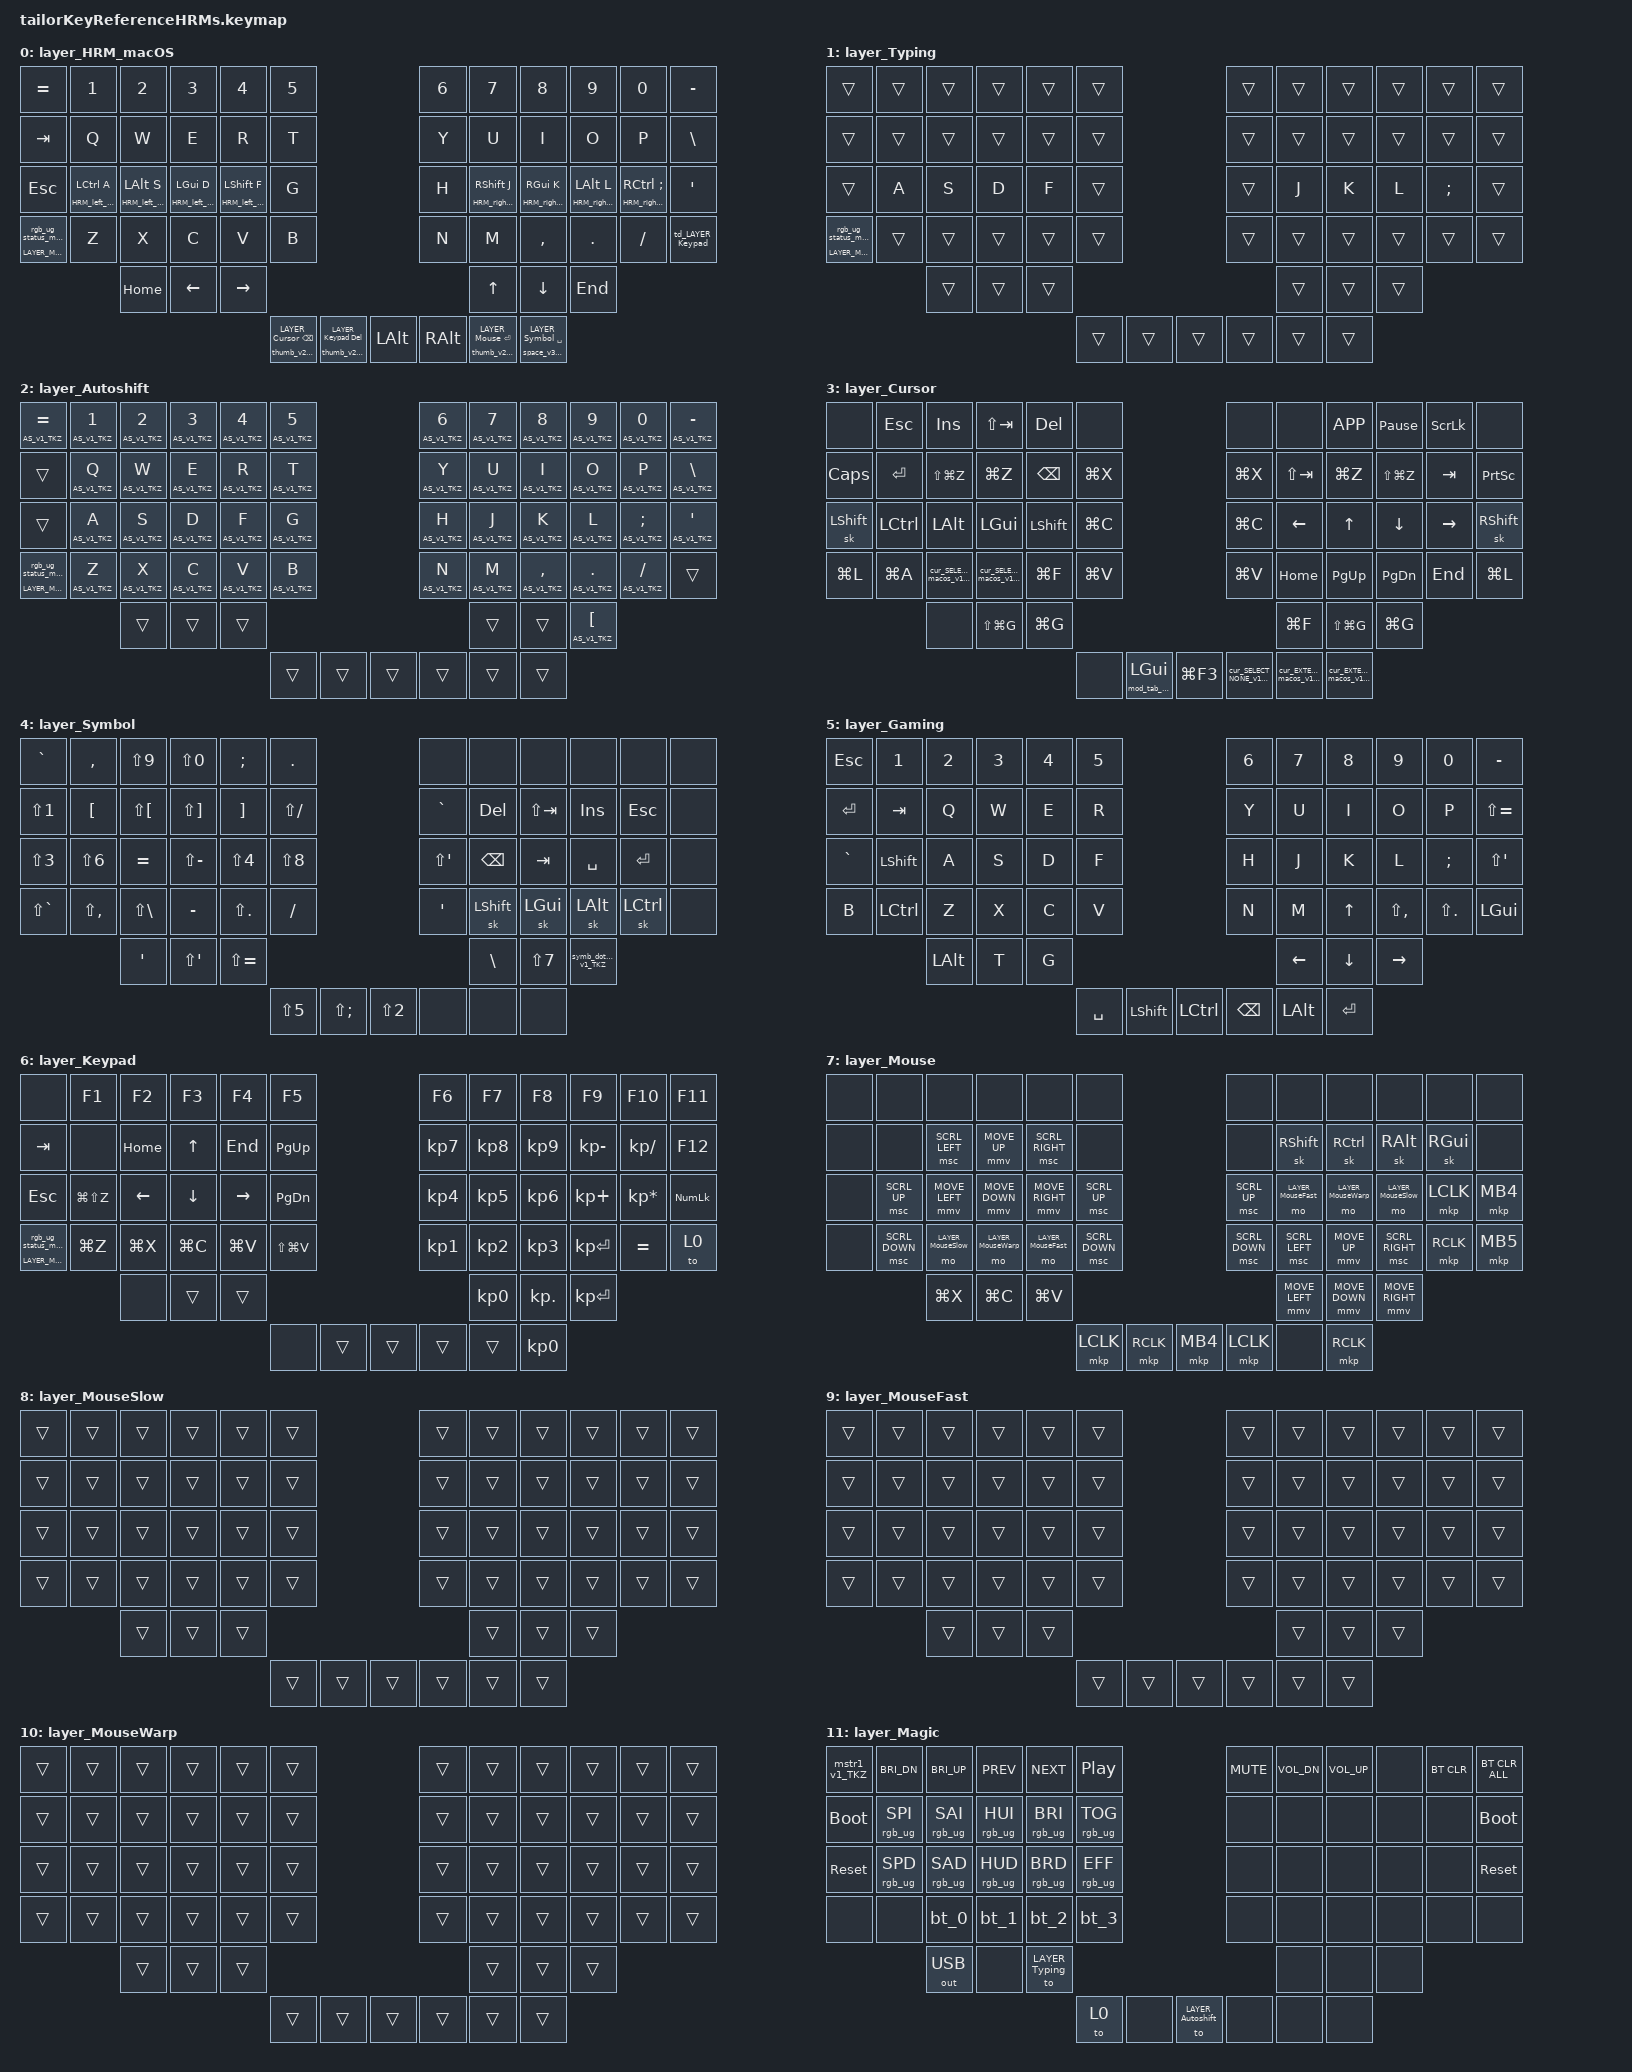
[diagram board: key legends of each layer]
/*
 * Copyright (c) 2020 The ZMK Contributors
 * Copyright (c) 2025 Innaworks Development Limited, trading as MoErgo
 *
 * SPDX-License-Identifier: MIT
 */


/* THIS FILE WAS GENERATED BY GO60 LAYOUT EDITOR
 *
 * This file was generated automatically. You may or may not want to
 * edit it directly.
 */

#include <behaviors.dtsi>

/* Include all behavior includes needed */

#include <dt-bindings/zmk/outputs.h>
#include <dt-bindings/zmk/keys.h>
#include <dt-bindings/zmk/bt.h>
#include <dt-bindings/zmk/rgb.h>

#include <input/processors.dtsi>
#include <dt-bindings/zmk/input_transform.h>
#include <zephyr/dt-bindings/input/input-event-codes.h>

/* On demand includes */
#include <dt-bindings/zmk/input_transform.h>
#include <dt-bindings/zmk/pointing.h>
#include <input/processors.dtsi>

/* Custom Functions Library includes shared functionality */
#include <zmk-custom-functions-lib/dts/behaviors.dtsi>
#include <zmk-custom-functions-lib/dts/combos.dtsi>
#include <zmk-custom-functions-lib/dts/holdTaps.dtsi>
#include <zmk-custom-functions-lib/dts/homeRowMods.dtsi>
#include <zmk-custom-functions-lib/dts/layerBehaviors.dtsi>
#include <zmk-custom-functions-lib/dts/macros.dtsi>
#include <zmk-custom-functions-lib/dts/modMorphs.dtsi>

/* Helper Macros, based on https://github.com/urob/zmk-helpers/ */

#pragma once

#define ZMK_HELPER_STRINGIFY(x) #x

// Preprocessor mechanism to overload macros, cf. https://stackoverflow.com/a/27051616/6114651
#define VARGS_(_10, _9, _8, _7, _6, _5, _4, _3, _2, _1, N, ...) N
#define VARGS(...) VARGS_(__VA_ARGS__, 10, 9, 8, 7, 6, 5, 4, 3, 2, 1, 0)
#define CONCAT_(a, b) a##b
#define CONCAT(a, b) CONCAT_(a, b)

#define ZMK_BEHAVIOR_CORE_tap_dance  \
    compatible = "zmk,behavior-tap-dance"; \
    #binding-cells = <0>

#define ZMK_BEHAVIOR(name, type, ...) \
    name: name { \
        ZMK_BEHAVIOR_CORE_ ## type; \
        __VA_ARGS__ \
    };

#define ZMK_TAP_DANCE(name, ...) \
    ZMK_BEHAVIOR(name, tap_dance, __VA_ARGS__)

#define ZMK_TD_LAYER(name, layer) \
    ZMK_TAP_DANCE(name, \
        tapping-term-ms = <200>; \
        bindings = <&mo layer>, <&to layer>; \
)





/* Key positions */

#define POS_LH_C6R1 0
#define POS_LH_C5R1 1
#define POS_LH_C4R1 2
#define POS_LH_C3R1 3
#define POS_LH_C2R1 4
#define POS_LH_C1R1 5
#define POS_RH_C1R1 6
#define POS_RH_C2R1 7
#define POS_RH_C3R1 8
#define POS_RH_C4R1 9
#define POS_RH_C5R1 10
#define POS_RH_C6R1 11
#define POS_LH_C6R2 12
#define POS_LH_C5R2 13
#define POS_LH_C4R2 14
#define POS_LH_C3R2 15
#define POS_LH_C2R2 16
#define POS_LH_C1R2 17
#define POS_RH_C1R2 18
#define POS_RH_C2R2 19
#define POS_RH_C3R2 20
#define POS_RH_C4R2 21
#define POS_RH_C5R2 22
#define POS_RH_C6R2 23
#define POS_LH_C6R3 24
#define POS_LH_C5R3 25
#define POS_LH_C4R3 26
#define POS_LH_C3R3 27
#define POS_LH_C2R3 28
#define POS_LH_C1R3 29
#define POS_RH_C1R3 30
#define POS_RH_C2R3 31
#define POS_RH_C3R3 32
#define POS_RH_C4R3 33
#define POS_RH_C5R3 34
#define POS_RH_C6R3 35
#define POS_LH_C6R4 36
#define POS_LH_C5R4 37
#define POS_LH_C4R4 38
#define POS_LH_C3R4 39
#define POS_LH_C2R4 40
#define POS_LH_C1R4 41
#define POS_RH_C1R4 42
#define POS_RH_C2R4 43
#define POS_RH_C3R4 44
#define POS_RH_C4R4 45
#define POS_RH_C5R4 46
#define POS_RH_C6R4 47
#define POS_LH_C4R5 48
#define POS_LH_C3R5 49
#define POS_LH_C2R5 50
#define POS_RH_C2R5 51
#define POS_RH_C3R5 52
#define POS_RH_C4R5 53
#define POS_LH_T1 54
#define POS_LH_T2 55
#define POS_LH_T3 56
#define POS_RH_T3 57
#define POS_RH_T2 58
#define POS_RH_T1 59


#define LEFT_HAND_KEYS \
  POS_LH_C1R1 POS_LH_C2R1 POS_LH_C3R1 POS_LH_C4R1 POS_LH_C5R1 POS_LH_C6R1 \
  POS_LH_C1R2 POS_LH_C2R2 POS_LH_C3R2 POS_LH_C4R2 POS_LH_C5R2 POS_LH_C6R2 \
  POS_LH_C1R3 POS_LH_C2R3 POS_LH_C3R3 POS_LH_C4R3 POS_LH_C5R3 POS_LH_C6R3 \
  POS_LH_C1R4 POS_LH_C2R4 POS_LH_C3R4 POS_LH_C4R4 POS_LH_C5R4 POS_LH_C6R4 \
              POS_LH_C2R5 POS_LH_C3R5 POS_LH_C4R5

#define RIGHT_HAND_KEYS \
  POS_RH_C1R1 POS_RH_C2R1 POS_RH_C3R1 POS_RH_C4R1 POS_RH_C5R1 POS_RH_C6R1 \
  POS_RH_C1R2 POS_RH_C2R2 POS_RH_C3R2 POS_RH_C4R2 POS_RH_C5R2 POS_RH_C6R2 \
  POS_RH_C1R3 POS_RH_C2R3 POS_RH_C3R3 POS_RH_C4R3 POS_RH_C5R3 POS_RH_C6R3 \
  POS_RH_C1R4 POS_RH_C2R4 POS_RH_C3R4 POS_RH_C4R4 POS_RH_C5R4 POS_RH_C6R4 \
              POS_RH_C2R5 POS_RH_C3R5 POS_RH_C4R5

#define THUMB_KEYS \
  POS_LH_T1 POS_LH_T2 POS_LH_T3 \
  POS_RH_T1 POS_RH_T2 POS_RH_T3

/* Environment and metadata defines */
#define KB_TYPE_GLOVE_80 1
#define KB_TYPE_GO_60    2

#define KB_TYPE          KB_TYPE_GO_60
#define EDITOR_HOST_OS   'M'

/* Automatically generated layer name defines */
#define LAYER_HRM_macOS 0
#define LAYER_Typing 1
#define LAYER_Autoshift 2
#define LAYER_Cursor 3
#define LAYER_Symbol 4
#define LAYER_Gaming 5
#define LAYER_Keypad 6
#define LAYER_Mouse 7
#define LAYER_MouseSlow 8
#define LAYER_MouseFast 9
#define LAYER_MouseWarp 10
#define LAYER_Magic 11

/* To deal with the situation where there is no Lower layer, to keep &lower happy */
#ifndef LAYER_Lower
#define LAYER_Lower 0
#endif

/* Generated input processors */


/* Custom Device-tree */


/* Input Listeners */
&mmv_input_listener {
    // LAYER_MouseSlow
    LAYER_MouseSlow {
        layers = <LAYER_MouseSlow>;
        input-processors = <&zip_xy_scaler 1 9>;
    };
    // LAYER_MouseFast
    LAYER_MouseFast {
        layers = <LAYER_MouseFast>;
        input-processors = <&zip_xy_scaler 3 1>;
    };
    // LAYER_MouseFast
    LAYER_MouseWarp {
        layers = <LAYER_MouseWarp>;
        input-processors = <&zip_xy_scaler 12 1>;
    };
};

&msc_input_listener {
    // LAYER_MouseSlow
    LAYER_MouseSlow {
        layers = <LAYER_MouseSlow>;
        input-processors = <&zip_scroll_scaler 1 9>;
    };
    // LAYER_MouseFast
    LAYER_MouseFast {
        layers = <LAYER_MouseFast>;
        input-processors = <&zip_scroll_scaler 3 1>;
    };
    // LAYER_MouseWarp
    LAYER_MouseWarp {
        layers = <LAYER_MouseWarp>;
        input-processors = <&zip_scroll_scaler 12 1>;
    };
};

&cirque_lh_listener {
    input-processors = <&zip_xy_to_scroll_mapper>, <&zip_temp_layer 7 2000>, <&zip_scroll_scaler 1 8>;
    layer_8 {
        layers = <LAYER_MouseSlow>;
        input-processors = <&zip_xy_scaler 5 14>, <&zip_xy_transform INPUT_TRANSFORM_Y_INVERT>, <&zip_xy_to_scroll_mapper>, <&zip_temp_layer 7 2000>, <&zip_scroll_scaler 1 8>;
    };
    layer_10 {
        layers = <LAYER_MouseWarp>;
        input-processors = <&zip_xy_scaler 13 3>, <&zip_xy_transform INPUT_TRANSFORM_Y_INVERT>, <&zip_xy_to_scroll_mapper>, <&zip_temp_layer 7 2000>, <&zip_scroll_scaler 1 8>;
    };
    layer_9 {
        layers = <LAYER_MouseFast>;
        input-processors = <&zip_xy_scaler 3 2>, <&zip_xy_transform INPUT_TRANSFORM_Y_INVERT>, <&zip_xy_to_scroll_mapper>, <&zip_temp_layer 7 2000>, <&zip_scroll_scaler 1 8>;
    };
};

&cirque_rh_listener {
    input-processors = <&zip_temp_layer 7 2000>;
    layer_8 {
        layers = <LAYER_MouseSlow>;
        input-processors = <&zip_xy_scaler 1 1>, <&zip_temp_layer 7 2000>;
    };
    layer_10 {
        layers = <LAYER_MouseWarp>;
        input-processors = <&zip_xy_scaler 6 1>, <&zip_temp_layer 7 2000>;
    };
    layer_9 {
        layers = <LAYER_MouseFast>;
        input-processors = <&zip_xy_scaler 4 1>, <&zip_temp_layer 7 2000>;
    };
};

/* System behavior and macros */
/ {
    behaviors {
        ZMK_TD_LAYER(lower, LAYER_Lower)
    };
};

/ {
    macros {
        rgb_ug_status_macro: rgb_ug_status_macro {
            label = "RGB_UG_STATUS";
            compatible = "zmk,behavior-macro";
            #binding-cells = <0>;
            bindings
                = <&rgb_ug RGB_STATUS>;
        };
    };
};

/ {
#ifdef BT_DISC_CMD
    behaviors {
        bt_0: bt_0 {
            compatible = "zmk,behavior-tap-dance";
            label = "BT_0";
            #binding-cells = <0>;
            tapping-term-ms = <200>;
            bindings = <&bt_select_0>, <&bt BT_DISC 0>;
        };
        bt_1: bt_1 {
            compatible = "zmk,behavior-tap-dance";
            label = "BT_1";
            #binding-cells = <0>;
            tapping-term-ms = <200>;
            bindings = <&bt_select_1>, <&bt BT_DISC 1>;
        };
        bt_2: bt_2 {
            compatible = "zmk,behavior-tap-dance";
            label = "BT_2";
            #binding-cells = <0>;
            tapping-term-ms = <200>;
            bindings = <&bt_select_2>, <&bt BT_DISC 2>;
        };
        bt_3: bt_3 {
            compatible = "zmk,behavior-tap-dance";
            label = "BT_3";
            #binding-cells = <0>;
            tapping-term-ms = <200>;
            bindings = <&bt_select_3>, <&bt BT_DISC 3>;
        };
    };
    macros {
        bt_select_0: bt_select_0 {
            label = "BT_SELECT_0";
            compatible = "zmk,behavior-macro";
            #binding-cells = <0>;
            bindings
                = <&out OUT_BLE>,
                  <&bt BT_SEL 0>;
        };
        bt_select_1: bt_select_1 {
            label = "BT_SELECT_1";
            compatible = "zmk,behavior-macro";
            #binding-cells = <0>;
            bindings
                = <&out OUT_BLE>,
                  <&bt BT_SEL 1>;
        };
        bt_select_2: bt_select_2 {
            label = "BT_SELECT_2";
            compatible = "zmk,behavior-macro";
            #binding-cells = <0>;
            bindings
                = <&out OUT_BLE>,
                  <&bt BT_SEL 2>;
        };
        bt_select_3: bt_select_3 {
            label = "BT_SELECT_3";
            compatible = "zmk,behavior-macro";
            #binding-cells = <0>;
            bindings
                = <&out OUT_BLE>,
                  <&bt BT_SEL 3>;
        };
    };
#else
    macros {
        bt_0: bt_0 {
            label = "BT_0";
            compatible = "zmk,behavior-macro";
            #binding-cells = <0>;
            bindings
                = <&out OUT_BLE>,
                  <&bt BT_SEL 0>;
        };
        bt_1: bt_1 {
            label = "BT_1";
            compatible = "zmk,behavior-macro";
            #binding-cells = <0>;
            bindings
                = <&out OUT_BLE>,
                  <&bt BT_SEL 1>;
        };
        bt_2: bt_2 {
            label = "BT_2";
            compatible = "zmk,behavior-macro";
            #binding-cells = <0>;
            bindings
                = <&out OUT_BLE>,
                  <&bt BT_SEL 2>;
        };
        bt_3: bt_3 {
            label = "BT_3";
            compatible = "zmk,behavior-macro";
            #binding-cells = <0>;
            bindings
                = <&out OUT_BLE>,
                  <&bt BT_SEL 3>;
        };
    };
#endif
};

/ {
    behaviors {
        magic: magic {
            compatible = "zmk,behavior-hold-tap";
            label = "MAGIC_HOLD_TAP";
            #binding-cells = <2>;
            flavor = "tap-preferred";
            tapping-term-ms = <200>;
            bindings = <&mo>, <&rgb_ug_status_macro>;
        };
    };
};


/* Custom Defined Behaviors */
/ {

};

/* Automatically generated macro definitions */
/ {
    macros {
        /* custom behaviors from custom zmk functions library */
    };
}

/* Automatically generated behavior definitions */
/ {
    behaviors {
        /* custom behaviors from custom zmk functions library */
    };
};

/* Automatically generated combos definitions */
/ {
    combos {
        compatible = "zmk,combos";

        // toggle gaming layer - TailorKey
        combo_gaming_layer_v1_TKZ {
            timeout-ms = <50>;
            key-positions = <POS_LH_C1R4 POS_LH_C2R5>;
            bindings = <&tog LAYER_Gaming>;
        };

        // F1 combo for Go60 - TailorKey
        combo_F1_cb_v1_TKZ {
            key-positions = <POS_LH_C5R1 POS_LH_C5R2>;
            bindings = <&kp F1>;
            layers = <LAYER_HRM_macOS LAYER_Typing LAYER_Autoshift>;
        };

        // F10 combo for Go60 - TailorKey
        combo_F10_cb_v1_TKZ {
            key-positions = <POS_RH_C5R1 POS_RH_C5R2>;
            bindings = <&kp F10>;
            layers = <LAYER_HRM_macOS LAYER_Typing LAYER_Autoshift>;
        };

        // F11 combo for Go60 - TailorKey
        combo_F11_cb_v1_TKZ {
            key-positions = <POS_RH_C6R1 POS_RH_C6R2>;
            bindings = <&kp F11>;
            layers = <LAYER_HRM_macOS LAYER_Typing LAYER_Autoshift>;
        };

        // F12 combo for Go60 - TailorKey
        combo_F12_cb_v1_TKZ {
            key-positions = <POS_RH_C5R1 POS_RH_C6R1>;
            bindings = <&kp F12>;
            layers = <LAYER_HRM_macOS LAYER_Typing LAYER_Autoshift>;
        };

        // F2 combo for Go60 - TailorKey
        combo_F2_cb_v1_TKZ {
            key-positions = <POS_LH_C4R2 POS_LH_C4R1>;
            bindings = <&kp F2>;
            layers = <LAYER_HRM_macOS LAYER_Typing LAYER_Autoshift>;
        };

        // F3 combo for Go60 - TailorKey
        combo_F3_cb_v1_TKZ {
            key-positions = <POS_LH_C3R2 POS_LH_C3R1>;
            bindings = <&kp F3>;
            layers = <LAYER_HRM_macOS LAYER_Typing LAYER_Autoshift>;
        };

        // F4 combo for Go60 - TailorKey
        combo_F4_cb_v1_TKZ {
            key-positions = <POS_LH_C2R2 POS_LH_C2R1>;
            bindings = <&kp F4>;
            layers = <LAYER_HRM_macOS LAYER_Typing LAYER_Autoshift>;
        };

        // F5 combo for Go60 - TailorKey
        combo_F5_cb_v1_TKZ {
            key-positions = <POS_LH_C1R2 POS_LH_C1R1>;
            bindings = <&kp F5>;
            layers = <LAYER_HRM_macOS LAYER_Typing LAYER_Autoshift>;
        };

        // F6 combo for Go60 - TailorKey
        combo_F6_cb_v1_TKZ {
            key-positions = <POS_RH_C1R1 POS_RH_C1R2>;
            bindings = <&kp F6>;
            layers = <LAYER_HRM_macOS LAYER_Typing LAYER_Autoshift>;
        };

        // F7 combo for Go60 - TailorKey
        combo_F7_cb_v1_TKZ {
            key-positions = <POS_RH_C2R1 POS_RH_C2R2>;
            bindings = <&kp F7>;
            layers = <LAYER_HRM_macOS LAYER_Typing LAYER_Autoshift>;
        };

        // F8 combo for Go60 - TailorKey
        combo_F8_cb_v1_TKZ {
            key-positions = <POS_RH_C3R1 POS_RH_C3R2>;
            bindings = <&kp F8>;
            layers = <LAYER_HRM_macOS LAYER_Typing LAYER_Autoshift>;
        };

        // F9 combo for Go60 - TailorKey
        combo_F9_cb_v1_TKZ {
            key-positions = <POS_RH_C4R1 POS_RH_C4R2>;
            bindings = <&kp F9>;
            layers = <LAYER_HRM_macOS LAYER_Typing LAYER_Autoshift>;
        };

        // sticky "hyper" modifiers (Win + Alt + Ctrl + Shift) - Use with Tab - TailorKey
        combo_sticky_hyp_rght_v1_TKZ {
            timeout-ms = <50>;
            key-positions = <POS_RH_C2R5 POS_RH_C2R4>;
            bindings = <&sk LG(LA(LC(LSHFT)))>;
            layers = <LAYER_HRM_macOS LAYER_Autoshift LAYER_Typing>;
        };

        // sticky "meh" modifiers (Alt + Ctrl + Shift) - Use with Tab - TailorKey
        combo_sticky_meh_rght_v1_TKZ {
            timeout-ms = <50>;
            key-positions = <POS_RH_C3R5 POS_RH_C3R4>;
            bindings = <&sk LA(LC(LSHFT))>;
            layers = <LAYER_HRM_macOS LAYER_Autoshift LAYER_Typing>;
        };

        // capslock when pressing both T1's - TailorKey
        combo_capslock_v1_TKZ {
            timeout-ms = <50>;
            key-positions = <POS_LH_T1 POS_RH_T1>;
            bindings = <&kp CAPS>;
            layers = <LAYER_HRM_macOS LAYER_Autoshift LAYER_Typing>;
        };

        // Alt Tab Switcher (Cursor Layer) - TailorKey
        combo_tabswitch_ctrl_v1_TKZ {
            key-positions = <POS_LH_C2R4 POS_LH_C2R5>;
            bindings = <&mod_tab_chord_v2_TKZ LCTRL LAYER_Cursor>;
            layers = <LAYER_HRM_macOS LAYER_Autoshift LAYER_Typing>;
        };

        // Alt Tab Switcher (Cursor Layer) - TailorKey
        combo_tabswitch_gui_v1_TKZ {
            key-positions = <POS_LH_T1 POS_LH_C1R4>;
            bindings = <&mod_tab_chord_v2_TKZ LGUI LAYER_Cursor>;
            layers = <LAYER_HRM_macOS LAYER_Autoshift LAYER_Typing>;
        };
    };
};

/* Automatically generated keymap */
/ {
    keymap {
        compatible = "zmk,keymap";


/* tailorKeyReferenceHRMs keymap layers definitions */

        layer_HRM_macOS {
            bindings = <
            &kp EQUAL                          &kp N1                        &kp N2                         &kp N3                          &kp N4  &kp N5                                                                                                                                                        &kp N6                           &kp N7                          &kp N8                         &kp N9                              &kp N0         &kp MINUS
              &kp TAB                           &kp Q                         &kp W                          &kp E                           &kp R   &kp T                                                                                                                                                         &kp Y                            &kp U                           &kp I                          &kp O                               &kp P          &kp BSLH
              &kp ESC  &HRM_left_pinky_v1_TKZ LCTRL A  &HRM_left_ring_v1_TKZ LALT S  &HRM_left_middy_v1_TKZ LGUI D  &HRM_left_index_v1_TKZ LSHFT F   &kp G                                                                                                                                                         &kp H  &HRM_right_index_v1_TKZ RSHFT J  &HRM_right_middy_v1_TKZ RGUI K  &HRM_right_ring_v1_TKZ LALT L  &HRM_right_pinky_v1_TKZ RCTRL SEMI           &kp SQT
 &magic LAYER_Magic 0                           &kp Z                         &kp X                          &kp C                           &kp V   &kp B                                                                                                                                                         &kp N                            &kp M                       &kp COMMA                        &kp DOT                            &kp FSLH  &td_LAYER_Keypad
                                                                           &kp HOME                       &kp LEFT                       &kp RIGHT                                                                                                                                                                                                 &kp UP                        &kp DOWN                        &kp END
                                                                                                                                                            &thumb_v2_TKZ LAYER_Cursor BSPC  &thumb_v2_TKZ LAYER_Keypad DEL  &kp LALT  &kp RALT  &thumb_v2_TKZ LAYER_Mouse RET  &space_v3_TKZ LAYER_Symbol SPACE
            >;
        };

        layer_Typing {
            bindings = <
               &trans  &trans  &trans  &trans  &trans  &trans                                                  &trans  &trans  &trans  &trans    &trans  &trans
               &trans  &trans  &trans  &trans  &trans  &trans                                                  &trans  &trans  &trans  &trans    &trans  &trans
               &trans   &kp A   &kp S   &kp D   &kp F  &trans                                                  &trans   &kp J   &kp K   &kp L  &kp SEMI  &trans
 &magic LAYER_Magic 0  &trans  &trans  &trans  &trans  &trans                                                  &trans  &trans  &trans  &trans    &trans  &trans
                               &trans  &trans  &trans                                                                  &trans  &trans  &trans
                                                               &trans  &trans  &trans  &trans  &trans  &trans
            >;
        };

        layer_Autoshift {
            bindings = <
     &AS_v1_TKZ EQUAL  &AS_v1_TKZ N1  &AS_v1_TKZ N2  &AS_v1_TKZ N3  &AS_v1_TKZ N4  &AS_v1_TKZ N5                                                  &AS_v1_TKZ N6  &AS_v1_TKZ N7     &AS_v1_TKZ N8    &AS_v1_TKZ N9    &AS_v1_TKZ N0  &AS_v1_TKZ MINUS
               &trans   &AS_v1_TKZ Q   &AS_v1_TKZ W   &AS_v1_TKZ E   &AS_v1_TKZ R   &AS_v1_TKZ T                                                   &AS_v1_TKZ Y   &AS_v1_TKZ U      &AS_v1_TKZ I     &AS_v1_TKZ O     &AS_v1_TKZ P   &AS_v1_TKZ BSLH
               &trans   &AS_v1_TKZ A   &AS_v1_TKZ S   &AS_v1_TKZ D   &AS_v1_TKZ F   &AS_v1_TKZ G                                                   &AS_v1_TKZ H   &AS_v1_TKZ J      &AS_v1_TKZ K     &AS_v1_TKZ L  &AS_v1_TKZ SEMI    &AS_v1_TKZ SQT
 &magic LAYER_Magic 0   &AS_v1_TKZ Z   &AS_v1_TKZ X   &AS_v1_TKZ C   &AS_v1_TKZ V   &AS_v1_TKZ B                                                   &AS_v1_TKZ N   &AS_v1_TKZ M  &AS_v1_TKZ COMMA   &AS_v1_TKZ DOT  &AS_v1_TKZ FSLH            &trans
                                             &trans         &trans         &trans                                                                                       &trans            &trans  &AS_v1_TKZ LBKT
                                                                                                  &trans  &trans  &trans  &trans  &trans  &trans
            >;
        };

        layer_Cursor {
            bindings = <
     &none    &kp ESC                        &kp INS                    &kp LS(TAB)    &kp DEL      &none                                                                                                                                       &none        &none      &kp K_APP  &kp PAUSE_BREAK   &kp SLCK      &none
  &kp CAPS    &kp RET                  &kp LS(LG(Z))                      &kp LG(Z)   &kp BSPC  &kp LG(X)                                                                                                                                   &kp LG(X)  &kp LS(TAB)      &kp LG(Z)    &kp LS(LG(Z))    &kp TAB  &kp PSCRN
 &sk LSHFT  &kp LCTRL                       &kp LALT                       &kp LGUI  &kp LSHFT  &kp LG(C)                                                                                                                                   &kp LG(C)     &kp LEFT         &kp UP         &kp DOWN  &kp RIGHT  &sk RSHFT
 &kp LG(L)  &kp LG(A)  &cur_SELECT_LINE_macos_v1_TKZ  &cur_SELECT_WORD_macos_v1_TKZ  &kp LG(F)  &kp LG(V)                                                                                                                                   &kp LG(V)     &kp HOME      &kp PG_UP        &kp PG_DN    &kp END  &kp LG(L)
                                               &none                  &kp LS(LG(G))  &kp LG(G)                                                                                                                                                           &kp LG(F)  &kp LS(LG(G))        &kp LG(G)
                                                                                                            &none  &mod_tab_v2_TKZ LGUI  &kp LG(F3)  &cur_SELECT_NONE_v1_TKZ  &cur_EXTEND_LINE_macos_v1_TKZ  &cur_EXTEND_WORD_macos_v1_TKZ
            >;
        };

        layer_Symbol {
            bindings = <
     &kp GRAVE      &kp COMMA    &kp LS(N9)            &kp LS(N0)       &kp SEMI       &kp DOT                                                                               &none      &none        &none                &none      &none   &none
    &kp LS(N1)       &kp LBKT  &kp LS(LBKT)          &kp LS(RBKT)       &kp RBKT  &kp LS(FSLH)                                                                           &kp GRAVE    &kp DEL  &kp LS(TAB)              &kp INS    &kp ESC   &none
    &kp LS(N3)     &kp LS(N6)     &kp EQUAL         &kp LS(MINUS)     &kp LS(N4)    &kp LS(N8)                                                                &kp LS(SINGLE_QUOTE)   &kp BSPC      &kp TAB            &kp SPACE    &kp RET   &none
 &kp LS(GRAVE)  &kp LS(COMMA)  &kp LS(BSLH)             &kp MINUS    &kp LS(DOT)      &kp FSLH                                                                             &kp SQT  &sk LSHFT     &sk LGUI             &sk LALT  &sk LCTRL   &none
                                    &kp SQT  &kp LS(SINGLE_QUOTE)  &kp LS(EQUAL)                                                                                                     &kp BSLH   &kp LS(N7)  &symb_dotdot_v1_TKZ
                                                                                                &kp LS(N5)  &kp LS(SEMI)  &kp LS(N2)   &none   &none   &none
            >;
        };

        layer_Gaming {
            bindings = <
   &kp ESC     &kp N1    &kp N2  &kp N3  &kp N4  &kp N5                                                                &kp N6    &kp N7    &kp N8         &kp N9       &kp N0      &kp MINUS
   &kp RET    &kp TAB     &kp Q   &kp W   &kp E   &kp R                                                                 &kp Y     &kp U     &kp I          &kp O        &kp P  &kp LS(EQUAL)
 &kp GRAVE  &kp LSHFT     &kp A   &kp S   &kp D   &kp F                                                                 &kp H     &kp J     &kp K          &kp L     &kp SEMI    &kp LS(SQT)
     &kp B  &kp LCTRL     &kp Z   &kp X   &kp C   &kp V                                                                 &kp N     &kp M    &kp UP  &kp LS(COMMA)  &kp LS(DOT)       &kp LGUI
                       &kp LALT   &kp T   &kp G                                                                                &kp LEFT  &kp DOWN      &kp RIGHT
                                                         &kp SPACE  &kp LSHFT  &kp LCTRL  &kp BSPC  &kp LALT  &kp RET
            >;
        };

        layer_Keypad {
            bindings = <
                &none         &kp F1     &kp F2     &kp F3     &kp F4         &kp F5                                                        &kp F6     &kp F7      &kp F8        &kp F9          &kp F10     &kp F11
              &kp TAB          &none   &kp HOME     &kp UP    &kp END      &kp PG_UP                                                     &kp KP_N7  &kp KP_N8   &kp KP_N9  &kp KP_MINUS     &kp KP_SLASH     &kp F12
              &kp ESC  &kp LG(LS(Z))   &kp LEFT   &kp DOWN  &kp RIGHT      &kp PG_DN                                                     &kp KP_N4  &kp KP_N5   &kp KP_N6   &kp KP_PLUS  &kp KP_MULTIPLY  &kp KP_NUM
 &magic LAYER_Magic 0      &kp LG(Z)  &kp LG(X)  &kp LG(C)  &kp LG(V)  &kp LS(LG(V))                                                     &kp KP_N1  &kp KP_N2   &kp KP_N3  &kp KP_ENTER        &kp EQUAL       &to 0
                                          &none     &trans     &trans                                                                               &kp KP_N0  &kp KP_DOT  &kp KP_ENTER
                                                                                       &none  &trans  &trans  &trans  &trans  &kp KP_N0
            >;
        };

        layer_Mouse {
            bindings = <
  &none           &none                &none                &none                &none           &none                                                                         &none                &none                &none                &none      &none     &none
  &none           &none       &msc SCRL_LEFT         &mmv MOVE_UP      &msc SCRL_RIGHT           &none                                                                         &none            &sk RSHFT            &sk RCTRL             &sk RALT   &sk RGUI     &none
  &none    &msc SCRL_UP       &mmv MOVE_LEFT       &mmv MOVE_DOWN      &mmv MOVE_RIGHT    &msc SCRL_UP                                                                  &msc SCRL_UP  &mo LAYER_MouseFast  &mo LAYER_MouseWarp  &mo LAYER_MouseSlow  &mkp LCLK  &mkp MB4
  &none  &msc SCRL_DOWN  &mo LAYER_MouseSlow  &mo LAYER_MouseWarp  &mo LAYER_MouseFast  &msc SCRL_DOWN                                                                &msc SCRL_DOWN       &msc SCRL_LEFT         &mmv MOVE_UP      &msc SCRL_RIGHT  &mkp RCLK  &mkp MB5
                                   &kp LG(X)            &kp LG(C)            &kp LG(V)                                                                                                     &mmv MOVE_LEFT       &mmv MOVE_DOWN      &mmv MOVE_RIGHT
                                                                                                        &mkp LCLK  &mkp RCLK  &mkp MB4  &mkp LCLK   &none  &mkp RCLK
            >;
        };

        layer_MouseSlow {
            bindings = <
 &trans  &trans  &trans  &trans  &trans  &trans                                                  &trans  &trans  &trans  &trans  &trans  &trans
 &trans  &trans  &trans  &trans  &trans  &trans                                                  &trans  &trans  &trans  &trans  &trans  &trans
 &trans  &trans  &trans  &trans  &trans  &trans                                                  &trans  &trans  &trans  &trans  &trans  &trans
 &trans  &trans  &trans  &trans  &trans  &trans                                                  &trans  &trans  &trans  &trans  &trans  &trans
                 &trans  &trans  &trans                                                                  &trans  &trans  &trans
                                                 &trans  &trans  &trans  &trans  &trans  &trans
            >;
        };

        layer_MouseFast {
            bindings = <
 &trans  &trans  &trans  &trans  &trans  &trans                                                  &trans  &trans  &trans  &trans  &trans  &trans
 &trans  &trans  &trans  &trans  &trans  &trans                                                  &trans  &trans  &trans  &trans  &trans  &trans
 &trans  &trans  &trans  &trans  &trans  &trans                                                  &trans  &trans  &trans  &trans  &trans  &trans
 &trans  &trans  &trans  &trans  &trans  &trans                                                  &trans  &trans  &trans  &trans  &trans  &trans
                 &trans  &trans  &trans                                                                  &trans  &trans  &trans
                                                 &trans  &trans  &trans  &trans  &trans  &trans
            >;
        };

        layer_MouseWarp {
            bindings = <
 &trans  &trans  &trans  &trans  &trans  &trans                                                  &trans  &trans  &trans  &trans  &trans  &trans
 &trans  &trans  &trans  &trans  &trans  &trans                                                  &trans  &trans  &trans  &trans  &trans  &trans
 &trans  &trans  &trans  &trans  &trans  &trans                                                  &trans  &trans  &trans  &trans  &trans  &trans
 &trans  &trans  &trans  &trans  &trans  &trans                                                  &trans  &trans  &trans  &trans  &trans  &trans
                 &trans  &trans  &trans                                                                  &trans  &trans  &trans
                                                 &trans  &trans  &trans  &trans  &trans  &trans
            >;
        };

        layer_Magic {
            bindings = <
 &mstr1_v1_TKZ     &kp C_BRI_DN     &kp C_BRI_UP       &kp C_PREV        &kp C_NEXT         &kp C_PP                                                               &kp C_MUTE  &kp C_VOL_DN  &kp C_VOL_UP   &none  &bt BT_CLR  &bt BT_CLR_ALL
   &bootloader  &rgb_ug RGB_SPI  &rgb_ug RGB_SAI  &rgb_ug RGB_HUI   &rgb_ug RGB_BRI  &rgb_ug RGB_TOG                                                                    &none         &none         &none   &none       &none     &bootloader
    &sys_reset  &rgb_ug RGB_SPD  &rgb_ug RGB_SAD  &rgb_ug RGB_HUD   &rgb_ug RGB_BRD  &rgb_ug RGB_EFF                                                                    &none         &none         &none   &none       &none      &sys_reset
         &none            &none            &bt_0            &bt_1             &bt_2            &bt_3                                                                    &none         &none         &none   &none       &none           &none
                                    &out OUT_USB            &none  &to LAYER_Typing                                                                                                   &none         &none   &none
                                                                                                       &to 0   &none  &to LAYER_Autoshift   &none   &none   &none
            >;
        };

    };
};
